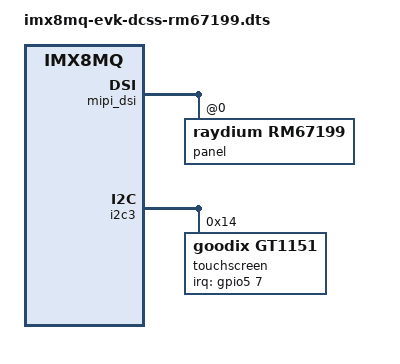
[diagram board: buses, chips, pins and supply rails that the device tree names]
// SPDX-License-Identifier: GPL-2.0
/*
 * Copyright 2020 NXP.
 */

#include "imx8mq-evk-dcss-rm67191.dts"

/delete-node/ &synaptics_dsx_ts;

&mipi_dsi {
	panel@0 {
		compatible = "raydium,rm67199";
	};
};

&i2c3 {
	touchscreen@14 {
		compatible = "goodix,gt1151";
		reg = <0x14>;
		pinctrl-names = "default";
		pinctrl-0 = <&pinctrl_i2c3_dsi_ts_int>;
		interrupt-parent = <&gpio5>;
		interrupts = <7 IRQ_TYPE_EDGE_FALLING>;
		irq-gpios = <&gpio5 7 GPIO_ACTIVE_HIGH>;
		edge-failling-trigger;
		touchscreen-size-x = <1080>;
		touchscreen-size-y = <1920>;
	};
};

